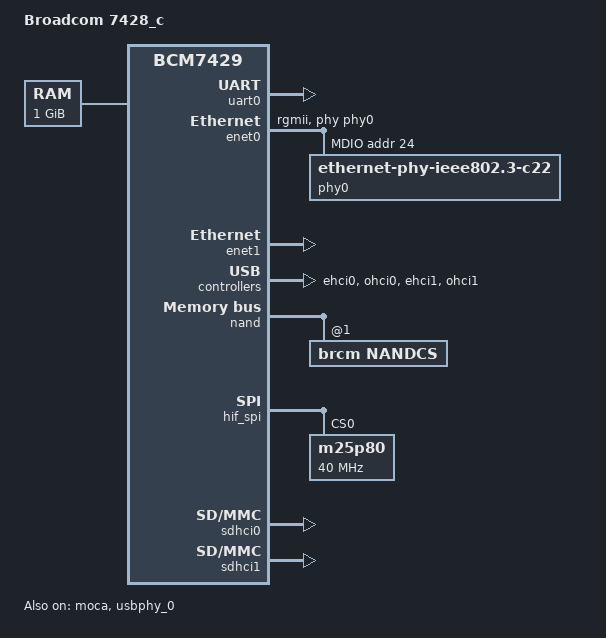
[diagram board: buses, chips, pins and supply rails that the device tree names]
/dts-v1/;

/include/ "bcm7429.dtsi"

/ {
	compatible = "brcm,bcm97428gn", "brcm,bcm7428", "brcm,bcm7429";
	model = "Broadcom 7428_c";

	memory@0 {
		device_type = "memory";
		reg = <0x00000000 0x10000000>,
		      <0x20000000 0x30000000>;
	};

	chosen {
		bootargs = "console=ttyS0,115200 earlyprintk";
		stdout-path = &uart0;
	};
};

&uart0 {
	status = "okay";
};

&enet0 {
	status = "okay";
	phy-mode = "rgmii";
	phy-handle = <&phy0>;

	mdio@e14 {
		/* External Broadcom BCM5481 */
		phy0: phy@18 {
			compatible = "ethernet-phy-ieee802.3-c22";
			reg = <24>;
		};
	};
};

&enet1 {
	status = "okay";
};

&moca {
	status = "okay";
};

&usbphy_0 {
	status = "okay";
};

&ehci0 {
	status = "okay";
};

&ohci0 {
	status = "okay";
};

&ehci1 {
	status = "okay";
};

&ohci1 {
	status = "okay";
};

&nand {
	status = "okay";

	nandcs@1 {
		#size-cells = <0x2>;
		#address-cells = <0x2>;
		compatible = "brcm,nandcs";
		reg = <0x1>;
		nand-on-flash-bbt;

		nand-ecc-strength = <4>;
		nand-ecc-step-size = <512>;

		rootfs@0 {
			reg = <0x0 0x0 0x0 0x0>;
		};

		kernel@1 {
		        reg = <0x0 0x0 0x0 0x0>;
		};

		flash@0 {
			reg = <0x0 0x0 0x1 0x0>;
		};
	};
};

&hif_spi {
	status = "okay";

	m25p80@0 {
		#size-cells = <2>;
		#address-cells = <2>;
		compatible = "m25p80";
		reg = <0>;
		spi-max-frequency = <40000000>;
		spi-cpol;
		spi-cpha;
		use-bspi;
		m25p,fast-read;

		rootfs@0 {
			reg = <0x0 0x0 0x0 0x0>;
		};

		kernel@1 {
			reg = <0x0 0x0 0x0 0x0>;
		};

		flash@0 {
			reg = <0x0 0x0 0x1 0x0>;
		};
	};
};


&sdhci0 {
	status = "okay";

	pinctrl-names = "default";
	pinctrl-0 = <&sdio0_core_pins>;
};

&sdhci1 {
	status = "okay";

	pinctrl-names = "default";
	pinctrl-0 = <&hif_emmc_pins>;
};

&brcm_pmx_core {
	status = "okay";
	pinctrl-names = "default";
	pinctrl-0 = <&genet_0_mii_pins>, <&moca_bsc_m3_pins>;

	sdio0_core_pins: pinmux_sdio0_pins {
		pinctrl-single,bits = <
			0x2c 0x00050000 0x000f0000 /* gpio_092 <- SDIO0_VCTL */
			0x2c 0x00500000 0x00f00000 /* gpio_093 <- SDIO0_PRES */
			0x38 0x00100000 0x00f00000 /* gpio_122 <- SDIO0_CMD */
			0x38 0x01000000 0x0f000000 /* gpio_123 <- SDIO0_WPROT */
			0x38 0x10000000 0xf0000000 /* gpio_124 <- SDIO0_PWR0 */
			0x3c 0x00000001 0x0000000f /* gpio_125 <- SDIO0_CLK */
			0x3c 0x00000010 0x000000f0 /* gpio_126 <- SDIO0_DATA0 */
			0x3c 0x00000100 0x00000f00 /* gpio_127 <- SDIO0_DATA1 */
			0x3c 0x00001000 0x0000f000 /* gpio_128 <- SDIO0_DATA2 */
			0x3c 0x00010000 0x000f0000 /* gpio_129 <- SDIO0_DATA3 */
			0x3c 0x01000000 0x0f000000 /* gpio_131 <- SDIO0_LED */

			0x6c 0x00008000 0x0000c000 /* gpio_122 <- SDIO0_CMD */
			0x6c 0x00020000 0x00030000 /* gpio_123 <- SDIO0_WPROT */
			0x6c 0x00080000 0x000c0000 /* gpio_124 <- SDIO0_PWR0 */
			0x6c 0x00200000 0x00300000 /* gpio_125 <- SDIO0_CLK */
			0x6c 0x00800000 0x00c00000 /* gpio_126 <- SDIO0_DAT0 */
			0x6c 0x02000000 0x03000000 /* gpio_127 <- SDIO0_DAT1 */
			0x6c 0x08000000 0x0c000000 /* gpio_128 <- SDIO0_DAT2 */
			0x6c 0x20000000 0x30000000 /* gpio_129 <- SDIO0_DAT3 */
			0x70 0x00000002 0x00000003 /* gpio_130 <- SDIO0_PRES */
			0x70 0x00000008 0x0000000c /* gpio_131 <- SDIO0_LED */
		>;
	};

	genet_0_mii_pins: genet_mii_pins {
		pinctrl-single,bits = <
			0x3c 0x10000000 0xf0000000 /* gpio_132 <- MII_RX_DV */
			0x40 0x00000010 0x000000f0 /* gpio_134 <- MII_RX_CLK */
			0x40 0x00002000 0x0000f000 /* gpio_136 <- EBI_ADDR15 */
			0x40 0x00010000 0x000f0000 /* gpio_137 <- MII_MDIO */
			0x40 0x00100000 0x00f00000 /* gpio_138 <- MII_TX_CLK */
			0x40 0x01000000 0x0f000000 /* gpiO_139 <- MII_RXD_03 */
			0x40 0x10000000 0xf0000000 /* gpiO_140 <- MII_RXD_02 */
			0x44 0x00000001 0x0000000f /* gpio_141 <- MII_RXD_01 */
			0x44 0x00000010 0x000000f0 /* gpio_142 <- MII_RXD_00 */
			0x44 0x00000100 0x00000f00 /* gpio_143 <- MII_TXD_03 */
			0x44 0x00001000 0x0000f000 /* gpio_144 <- MII_TXD_02 */
			0x44 0x00010000 0x000f0000 /* gpio_145 <- MII_TXD_01 */
			0x44 0x00100000 0x00f00000 /* gpio_146 <- MII_TXD_00 */
			0x44 0x01000000 0x0f000000 /* gpio_147 <- MII_TX_EN */
			0x48 0x00000001 0x0000000f /* gpio_149 <- MII_MDC */
		>;
	};


	moca_bsc_m3_pins: pinmux_moca_bsc_m3_pins {
		pinctrl-single,bits = <
			0x48 0x00000010 0x000000f0 /* sgpio_00 <- BSC_M3_SCL */
			0x48 0x00000100 0x00000f00 /* sgpio_01 <- BSC_M3_SDA */
		>;
	};
};

&brcm_pmx_hif_emmc_pinctrl {
	status = "okay";

	hif_emmc_pins: pinmux_all_pins {
		pinctrl-single,bits = <
			0x0 0x00000001 0x00000003 /* HIF_TOP_CTRL.EMMC_PIN_SEL*/
		>;
	};
};
